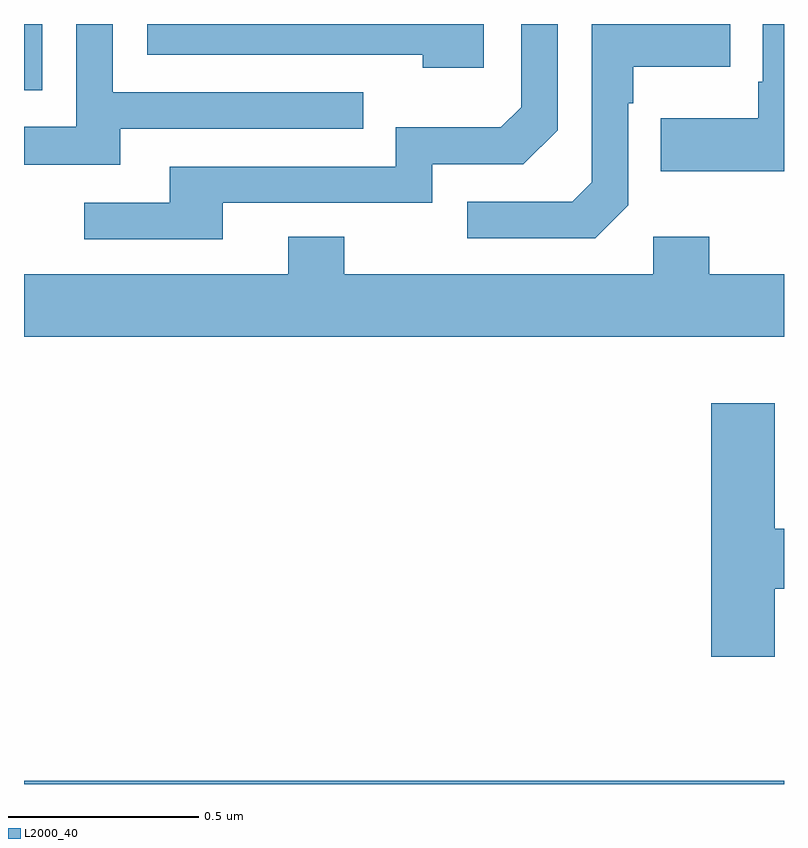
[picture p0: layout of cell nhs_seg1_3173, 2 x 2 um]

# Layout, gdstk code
import gdstk
lib = gdstk.Library(unit=1e-6, precision=1e-09)
def R(c, l, rs):  # rectangles x0, y0, x1, y1
    for r in rs: c.add(gdstk.rectangle(r[:2], r[2:], *l))
def P(c, l, *ps):  # polygons
    for p in ps: c.add(gdstk.Polygon(p, *l))
L2000_40 = (2000, 40)

nhs_seg1_3173 = lib.new_cell('nhs_seg1_3173')
R(nhs_seg1_3173, L2000_40, [(150,573.199,152,573.208), (150,575.025,150.048,575.199)])
P(nhs_seg1_3173, L2000_40, [(151.21,575.199),(150.324,575.199),(150.324,575.118),(151.049,575.118),(151.049,575.084),(151.21,575.084)],
  [(150.253,574.923),(150.893,574.923),(150.893,575.019),(150.234,575.019),(150.234,575.199),(150.138,575.199),(150.138,574.929),(150,574.929),(150,574.829),(150.253,574.829)],
  [(152,575.199),(151.944,575.199),(151.944,575.047),(151.932,575.047),(151.932,574.951),(151.675,574.951),(151.675,574.811),(152,574.811)],
  [(151.59,574.722),(151.59,574.991),(151.603,574.991),(151.603,575.087),(151.859,575.087),(151.859,575.199),(151.494,575.199),(151.494,574.782),(151.443,574.731),(151.167,574.731),(151.167,574.635),(151.503,574.635)],
  [(150.523,574.728),(151.074,574.728),(151.074,574.83),(151.314,574.83),(151.404,574.92),(151.404,575.199),(151.308,575.199),(151.308,574.98),(151.255,574.927),(150.978,574.927),(150.978,574.824),(150.383,574.824),(150.383,574.728),(150.159,574.728),(150.159,574.632),(150.523,574.632)],
  [(152,574.54),(151.803,574.54),(151.803,574.639),(151.656,574.639),(151.656,574.54),(150.843,574.54),(150.843,574.639),(150.695,574.639),(150.695,574.54),(150,574.54),(150,574.376),(152,574.376)],
  [(151.975,573.713),(152,573.713),(152,573.871),(151.975,573.871),(151.975,574.201),(151.808,574.201),(151.808,573.534),(151.975,573.534)])

lib.write_gds('nhs_seg1_3173.gds')
